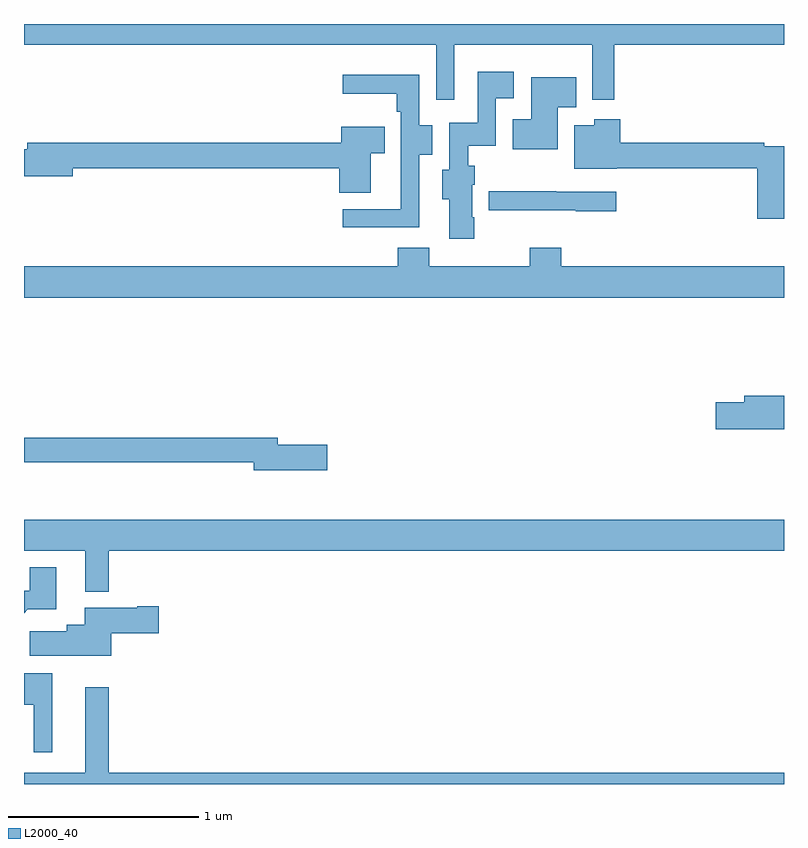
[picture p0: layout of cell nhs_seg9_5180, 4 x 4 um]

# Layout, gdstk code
import gdstk
lib = gdstk.Library(unit=1e-6, precision=1e-09)
def P(c, l, *ps):  # polygons
    for p in ps: c.add(gdstk.Polygon(p, *l))
L2000_40 = (2000, 40)

nhs_seg9_5180 = lib.new_cell('nhs_seg9_5180')
P(nhs_seg9_5180, L2000_40, [(413.265,1224.392),(413.991,1224.392),(413.991,1224.102),(414.107,1224.102),(414.107,1224.392),(415,1224.392),(415,1224.5),(411,1224.5),(411,1224.392),(413.169,1224.392),(413.169,1224.102),(413.265,1224.102)],
  [(413.371,1223.482),(413.359,1223.482),(413.359,1223.654),(413.372,1223.654),(413.372,1223.754),(413.337,1223.754),(413.337,1223.858),(413.484,1223.858),(413.484,1224.11),(413.578,1224.11),(413.578,1224.25),(413.388,1224.25),(413.388,1223.98),(413.238,1223.98),(413.238,1223.733),(413.201,1223.733),(413.201,1223.578),(413.237,1223.578),(413.237,1223.37),(413.371,1223.37)],
  [(413.079,1223.812),(413.149,1223.812),(413.149,1223.967),(413.079,1223.967),(413.079,1224.232),(412.677,1224.232),(412.677,1224.134),(412.963,1224.134),(412.963,1224.038),(412.983,1224.038),(412.983,1223.723),(412.982,1223.723),(412.982,1223.526),(412.677,1223.526),(412.677,1223.43),(413.079,1223.43)],
  [(413.809,1224.062),(413.906,1224.062),(413.906,1224.22),(413.669,1224.22),(413.669,1223.998),(413.573,1223.998),(413.573,1223.84),(413.809,1223.84)],
  [(415,1223.856),(414.896,1223.856),(414.896,1223.876),(414.137,1223.876),(414.137,1223.998),(414.002,1223.998),(414.002,1223.968),(413.897,1223.968),(413.897,1223.738),(414.12,1223.738),(414.12,1223.74),(414.86,1223.74),(414.86,1223.475),(415,1223.475)],
  [(412.825,1223.819),(412.898,1223.819),(412.898,1223.959),(412.67,1223.959),(412.67,1223.876),(411.017,1223.876),(411.017,1223.84),(411,1223.84),(411,1223.698),(411.256,1223.698),(411.256,1223.74),(412.658,1223.74),(412.658,1223.611),(412.825,1223.611)],
  [(414.118,1223.616),(413.801,1223.616),(413.801,1223.619),(413.445,1223.619),(413.445,1223.519),(413.905,1223.519),(413.905,1223.515),(414.118,1223.515)],
  [(415,1223.224),(413.828,1223.224),(413.828,1223.323),(413.663,1223.323),(413.663,1223.224),(413.132,1223.224),(413.132,1223.323),(412.967,1223.323),(412.967,1223.224),(411,1223.224),(411,1223.06),(415,1223.06)],
  [(415,1222.544),(414.791,1222.544),(414.791,1222.508),(414.642,1222.508),(414.642,1222.366),(415,1222.366)],
  [(412.597,1222.286),(412.336,1222.286),(412.336,1222.322),(411,1222.322),(411,1222.194),(412.208,1222.194),(412.208,1222.151),(412.597,1222.151)],
  [(411.445,1221.728),(415,1221.728),(415,1221.892),(411,1221.892),(411,1221.728),(411.323,1221.728),(411.323,1221.512),(411.445,1221.512)],
  [(411.02,1221.419),(411.169,1221.419),(411.169,1221.64),(411.029,1221.64),(411.029,1221.517),(411,1221.517),(411,1221.399)],
  [(411.46,1221.293),(411.709,1221.293),(411.709,1221.435),(411.596,1221.435),(411.596,1221.427),(411.32,1221.427),(411.32,1221.337),(411.224,1221.337),(411.224,1221.305),(411.03,1221.305),(411.03,1221.176),(411.46,1221.176)],
  [(411.148,1221.082),(411,1221.082),(411,1220.918),(411.05,1220.918),(411.05,1220.667),(411.148,1220.667)],
  [(411.323,1220.56),(411,1220.56),(411,1220.5),(415,1220.5),(415,1220.56),(411.445,1220.56),(411.445,1221.01),(411.323,1221.01)])

lib.write_gds('nhs_seg9_5180.gds')
